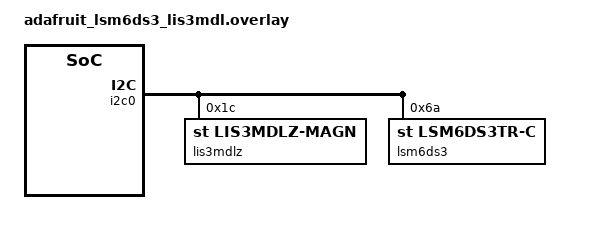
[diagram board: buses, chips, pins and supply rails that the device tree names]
&i2c0 {
    lis3mdlz: lis3mdlz-magn@1c {
        compatible = "st,lis3mdlz-magn";
        friendly-name = "LIS3MDL Magnetometer";
        reg = <0x1c>;
    };
    lsm6ds3: lsm6ds3@6a {
        compatible = "st,lsm6ds3tr-c";
        friendly-name = "LSM6DS3TR-C Accelerometer/Gyroscope";
        reg = <0x6a>;
    };
};
